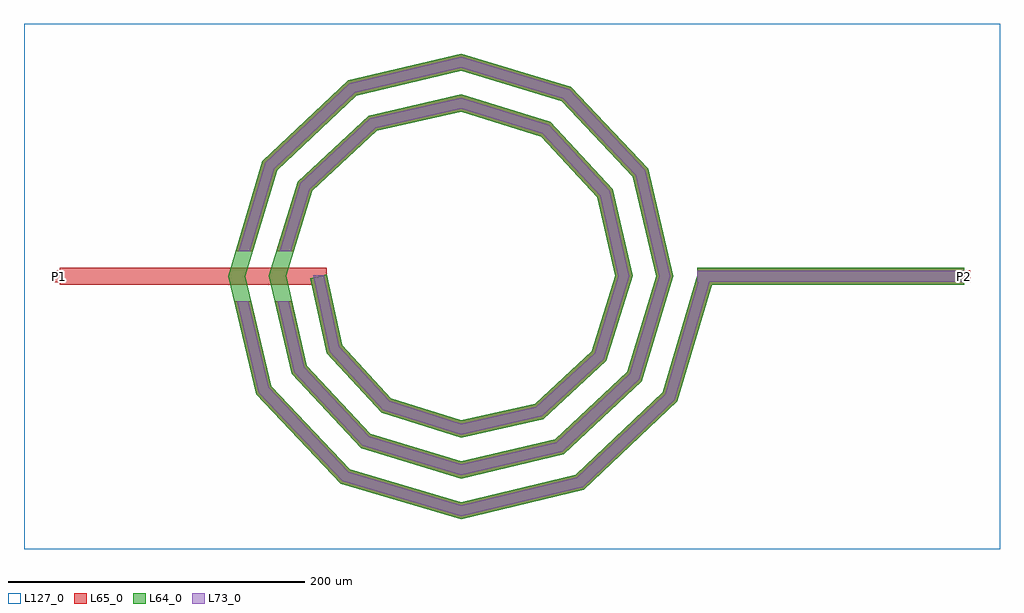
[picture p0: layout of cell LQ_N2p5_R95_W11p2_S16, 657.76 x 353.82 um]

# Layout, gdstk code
import gdstk
lib = gdstk.Library(unit=1e-6, precision=1e-09)
def R(c, l, rs):  # rectangles x0, y0, x1, y1
    for r in rs: c.add(gdstk.rectangle(r[:2], r[2:], *l))
def P(c, l, *ps):  # polygons
    for p in ps: c.add(gdstk.Polygon(p, *l))
L64_0 = (64, 0)
L65_0 = (65, 0)
L73_0 = (73, 0)
L127_0 = (127, 0)

lq_n2p5_r95_w11p2_s16 = lib.new_cell('LQ_N2p5_R95_W11p2_S16')
R(lq_n2p5_r95_w11p2_s16, L64_0, [(159.271,-5.6,339.271,5.6)])
P(lq_n2p5_r95_w11p2_s16, L64_0, [(-80.059,-46.513),(-47.228,-82.294),(0.241,-97.175),(49.938,-86.024),(88.242,-50.68),(104.053,0.226),(91.987,53.364),(54.131,94.191),(0.212,110.93),(-56.792,97.95),(-100.141,57.581),(-117.808,0.201),(-103.911,-60.221),(-61.029,-106.092),(0.19,-124.686),(63.651,-109.873),(112.044,-64.476),(131.563,0.181),(115.834,67.082),(67.923,117.995),(0.172,138.441),(-70.513,121.794),(-123.948,71.369),(-145.319,0.164),(-127.755,-73.946),(-74.814,-129.901),(0.157,-152.197),(77.379,-133.714),(135.854,-78.259),(159.501,1.59),(170.24,-1.59),(145.74,-84.319),(82.907,-143.908),(0.157,-163.788),(-80.886,-139.78),(-137.954,-79.461),(-156.91,0.164),(-133.819,77.453),(-76.016,132.002),(0.172,150.032),(74.021,127.859),(126.049,72.569),(143.154,0.181),(121.897,-70.589),(69.122,-120.097),(0.19,-136.275),(-67.159,-115.936),(-114.145,-65.674),(-129.397,0.201),(-109.973,63.729),(-62.225,108.194),(0.212,122.519),(60.3,104.01),(102.243,58.775),(115.64,0.226),(98.046,-56.873),(55.323,-96.294),(0.241,-108.762),(-53.448,-92.081),(-90.345,-51.87),(-101.558,-1.21),(-90.623,1.21)])
R(lq_n2p5_r95_w11p2_s16, L65_0, [(-270.49,-5.6,-90.49,5.6), (159.271,-5.6,339.271,5.6), (-274.49,-4,-266.49,4), (335.271,-4,343.271,4)])
P(lq_n2p5_r95_w11p2_s16, L65_0, [(-127.755,-73.946),(-74.814,-129.901),(0.157,-152.197),(77.379,-133.715),(135.854,-78.259),(159.501,1.59),(170.24,-1.59),(145.74,-84.319),(82.907,-143.908),(0.157,-163.788),(-80.886,-139.78),(-137.955,-79.461),(-152.872,-16.8),(-141.359,-16.8)],
  [(-103.912,-60.221),(-61.029,-106.092),(0.19,-124.686),(63.651,-109.873),(112.044,-64.476),(131.563,0.181),(115.834,67.082),(67.923,117.995),(0.172,138.441),(-70.513,121.794),(-123.948,71.369),(-140.251,16.8),(-151.94,16.8),(-133.819,77.453),(-76.016,132.002),(0.172,150.032),(74.021,127.859),(126.049,72.569),(143.154,0.181),(121.897,-70.589),(69.122,-120.097),(0.19,-136.275),(-67.159,-115.936),(-114.145,-65.674),(-125.461,-16.8),(-113.965,-16.8)],
  [(-47.228,-82.294),(0.241,-97.175),(49.938,-86.024),(88.242,-50.68),(104.053,0.226),(91.987,53.364),(54.131,94.191),(0.212,110.93),(-56.792,97.95),(-100.141,57.581),(-112.61,16.8),(-124.322,16.8),(-109.973,63.729),(-62.225,108.194),(0.212,122.519),(60.301,104.01),(102.243,58.775),(115.64,0.226),(98.046,-56.873),(55.323,-96.294),(0.241,-108.762),(-53.448,-92.082),(-90.345,-51.87),(-101.558,-1.21),(-90.623,1.21),(-80.059,-46.513)])
R(lq_n2p5_r95_w11p2_s16, L73_0, [(159.271,-3.6,339.271,3.6)])
P(lq_n2p5_r95_w11p2_s16, L73_0, [(-129.576,-74.931),(-75.898,-131.665),(0.101,-154.267),(78.366,-135.535),(137.619,-79.341),(161.419,1.022),(168.322,-1.022),(143.974,-83.237),(81.919,-142.088),(0.101,-161.718),(-79.802,-138.016),(-136.133,-78.477),(-150.816,-16.8),(-143.415,-16.8)],
  [(-105.739,-61.195),(-62.124,-107.85),(0.122,-126.755),(64.628,-111.699),(113.803,-65.568),(133.633,0.116),(117.658,68.062),(69.012,119.757),(0.111,140.511),(-71.496,123.617),(-125.711,72.455),(-142.338,16.8),(-149.853,16.8),(-132.057,76.367),(-75.033,130.179),(0.111,147.962),(72.932,126.097),(124.225,71.59),(141.084,0.116),(120.138,-69.498),(68.145,-118.271),(0.122,-134.206),(-66.064,-114.178),(-112.318,-64.701),(-123.408,-16.8),(-116.018,-16.8)],
  [(-48.339,-84.042),(0.155,-99.244),(50.899,-87.858),(89.993,-51.786),(106.122,0.145),(93.819,54.33),(55.233,95.945),(0.137,113),(-57.762,99.779),(-101.897,58.679),(-114.701,16.8),(-122.23,16.8),(-108.218,62.631),(-61.255,106.365),(0.137,120.449),(59.199,102.257),(100.412,57.809),(113.571,0.145),(96.296,-55.767),(54.362,-94.46),(0.155,-106.693),(-52.337,-90.334),(-88.508,-50.913),(-99.605,0.778),(-92.575,0.778),(-81.896,-47.47)])
R(lq_n2p5_r95_w11p2_s16, L127_0, [(-294.49,-183.788,363.271,170.032)])
lq_n2p5_r95_w11p2_s16.add(gdstk.Label('P2', (339.271,0), layer=65, texttype=0))
lq_n2p5_r95_w11p2_s16.add(gdstk.Label('P1', (-270.49,0), layer=65, texttype=0))
lq_n2p5_r95_w11p2_s16.add(gdstk.Label('P2', (343.271,0), layer=145, texttype=0))
lq_n2p5_r95_w11p2_s16.add(gdstk.Label('P1', (-274.49,0), layer=145, texttype=0))

lib.write_gds('LQ_N2p5_R95_W11p2_S16.gds')
